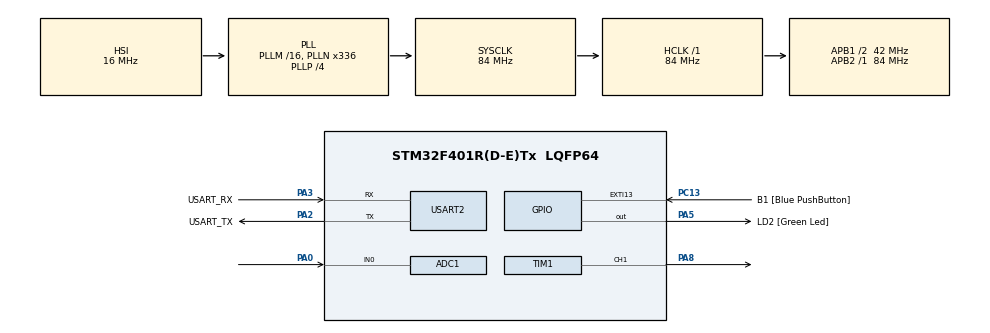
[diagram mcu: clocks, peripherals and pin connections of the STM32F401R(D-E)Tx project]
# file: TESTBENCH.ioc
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ADC1.Channel-0\#ChannelRegularConversion=ADC_CHANNEL_0
ADC1.NbrOfConversionFlag=1
ADC1.Rank-0\#ChannelRegularConversion=1
ADC1.SamplingTime-0\#ChannelRegularConversion=ADC_SAMPLETIME_3CYCLES
ADC1.master=1
Mcu.Family=STM32F4
Mcu.Name=STM32F401R(D-E)Tx
Mcu.Package=LQFP64
NVIC.PriorityGroup=NVIC_PRIORITYGROUP_4
PA0-WKUP.Signal=ADCx_IN0
PA13.GPIO_Label=TMS
PA13.Mode=Trace_Asynchronous_SW
PA13.Signal=SYS_JTMS-SWDIO
PA14.GPIO_Label=TCK
PA14.Mode=Trace_Asynchronous_SW
PA14.Signal=SYS_JTCK-SWCLK
PA2.GPIO_Label=USART_TX
PA2.GPIO_Mode=GPIO_MODE_AF_PP
PA2.GPIO_PuPd=GPIO_NOPULL
PA2.GPIO_Speed=GPIO_SPEED_FREQ_LOW
PA2.Mode=Asynchronous
PA2.Signal=USART2_TX
PA3.GPIO_Label=USART_RX
PA3.GPIO_Mode=GPIO_MODE_AF_PP
PA3.GPIO_PuPd=GPIO_NOPULL
PA3.GPIO_Speed=GPIO_SPEED_FREQ_LOW
PA3.Mode=Asynchronous
PA3.Signal=USART2_RX
PA5.GPIO_Label=LD2 [Green Led]
PA5.GPIO_Mode=GPIO_MODE_OUTPUT_PP
PA5.GPIO_PuPd=GPIO_NOPULL
PA5.GPIO_Speed=GPIO_SPEED_FREQ_LOW
PA5.Signal=GPIO_Output
PA8.Signal=S_TIM1_CH1
PB3.GPIO_Label=SWO
PB3.Mode=Trace_Asynchronous_SW
PB3.Signal=SYS_JTDO-SWO
PC13-ANTI_TAMP.GPIO_Label=B1 [Blue PushButton]
PC13-ANTI_TAMP.GPIO_ModeDefaultEXTI=GPIO_MODE_IT_FALLING
PC13-ANTI_TAMP.GPIO_PuPd=GPIO_NOPULL
PC13-ANTI_TAMP.Signal=GPXTI13
PC14-OSC32_IN.Mode=LSE-External-Oscillator
PC14-OSC32_IN.Signal=RCC_OSC32_IN
PC15-OSC32_OUT.Mode=LSE-External-Oscillator
PC15-OSC32_OUT.Signal=RCC_OSC32_OUT
PH0\ -\ OSC_IN.Mode=HSE-External-Clock-Source
PH0\ -\ OSC_IN.Signal=RCC_OSC_IN
PH1\ -\ OSC_OUT.Mode=HSE-External-Clock-Source
PH1\ -\ OSC_OUT.Signal=RCC_OSC_OUT
ProjectManager.HeapSize=0x200
ProjectManager.StackSize=0x400
ProjectManager.TargetToolchain=STM32CubeIDE
RCC.48MHZClocksFreq_Value=48000000
RCC.AHBFreq_Value=84000000
RCC.APB1CLKDivider=RCC_HCLK_DIV2
RCC.APB1Freq_Value=42000000
RCC.APB1TimFreq_Value=84000000
RCC.APB2Freq_Value=84000000
RCC.APB2TimFreq_Value=84000000
RCC.CortexFreq_Value=84000000
RCC.HCLKFreq_Value=84000000
RCC.HSE_VALUE=8000000
RCC.HSI_VALUE=16000000
RCC.PLLN=336
RCC.PLLP=RCC_PLLP_DIV4
RCC.PLLQ=7
RCC.SYSCLKFreq_VALUE=84000000
RCC.SYSCLKSource=RCC_SYSCLKSOURCE_PLLCLK
RCC.VCOOutputFreq_Value=336000000
SH.ADCx_IN0.0=ADC1_IN0,IN0
SH.S_TIM1_CH1.0=TIM1_CH1,PWM Generation1 CH1
TIM1.Channel-PWM\ Generation1\ CH1=TIM_CHANNEL_1
TIM1.Period=7999
USART2.VirtualMode=VM_ASYNC
VP_TIM1_VS_ClockSourceINT.Mode=Internal
board=NUCLEO-F401RE

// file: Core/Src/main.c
/* USER CODE BEGIN Header */
/**
  ******************************************************************************
  * @file           : main.c
  * @brief          : Main program body
  ******************************************************************************
  * @attention
  *
  * Copyright (c) 2025 STMicroelectronics.
  * All rights reserved.
  *
  * This software is licensed under terms that can be found in the LICENSE file
  * in the root directory of this software component.
  * If no LICENSE file comes with this software, it is provided AS-IS.
  *
  ******************************************************************************
  */
/* USER CODE END Header */
#include "main.h"

/* USER CODE BEGIN Includes */
#include <string.h>
#include <stdio.h>
#include <math.h>
/* USER CODE END Includes */

ADC_HandleTypeDef hadc1;

TIM_HandleTypeDef htim1;

UART_HandleTypeDef huart2;

void SystemClock_Config(void);
static void MX_GPIO_Init(void);
static void MX_USART2_UART_Init(void);
static void MX_ADC1_Init(void);
static void MX_TIM1_Init(void);

/* USER CODE BEGIN 0 */
#define SINE_SAMPLE 80
uint16_t sine_table[SINE_SAMPLE];

void generate_sine_table(uint16_t amplitude, uint16_t offset) {
	for (int i = 0; i< SINE_SAMPLE; i++) {
		float sine_angle = (2.0f * 3.1415f *i)/ SINE_SAMPLE;
		float value = sinf(sine_angle);
		sine_table[i]= (uint16_t)(amplitude * value + offset);
	}
}
/* USER CODE END 0 */

int main(void)
{

  /* MCU Configuration--------------------------------------------------------*/

  /* Reset of all peripherals, Initializes the Flash interface and the Systick. */
  HAL_Init();

  /* Configure the system clock */
  SystemClock_Config();

  /* Initialize all configured peripherals */
  MX_GPIO_Init();
  MX_USART2_UART_Init();
  MX_ADC1_Init();
  MX_TIM1_Init();
  /* USER CODE BEGIN 2 */
  char msg[10];
    HAL_TIM_PWM_Start(&htim1, TIM_CHANNEL_1);
    generate_sine_table(1500, 1500); // amplitude 500, offset 500 — range 0–1000

    int index = 0;
  /* USER CODE END 2 */

  /* Infinite loop */
  /* USER CODE BEGIN WHILE */
  while (1)
  {
	  __HAL_TIM_SET_COMPARE(&htim1, TIM_CHANNEL_1, sine_table[index]);
	    index = (index + 1) % SINE_SAMPLE;

	    HAL_Delay(1);

	    HAL_ADC_Start(&hadc1);  // Start ADC conversion

	      if (HAL_ADC_PollForConversion(&hadc1, 10) == HAL_OK)
	      {
	        uint16_t adc_val = HAL_ADC_GetValue(&hadc1);  // Read ADC value (0–4095)

	        int len = sprintf(msg, "%u\n", adc_val);  // Convert to string with newline

	        HAL_UART_Transmit(&huart2, (uint8_t*)msg, len, HAL_MAX_DELAY);  // Send over USB serial
	      }

	      HAL_Delay(5);  // ~200 Hz sampling rate
    /* USER CODE END WHILE */

  }
}

void SystemClock_Config(void)
{
  RCC_OscInitTypeDef RCC_OscInitStruct = {0};
  RCC_ClkInitTypeDef RCC_ClkInitStruct = {0};

  /** Configure the main internal regulator output voltage
  */
  __HAL_RCC_PWR_CLK_ENABLE();
  __HAL_PWR_VOLTAGESCALING_CONFIG(PWR_REGULATOR_VOLTAGE_SCALE2);

  /** Initializes the RCC Oscillators according to the specified parameters
  * in the RCC_OscInitTypeDef structure.
  */
  RCC_OscInitStruct.OscillatorType = RCC_OSCILLATORTYPE_HSI;
  RCC_OscInitStruct.HSIState = RCC_HSI_ON;
  RCC_OscInitStruct.HSICalibrationValue = RCC_HSICALIBRATION_DEFAULT;
  RCC_OscInitStruct.PLL.PLLState = RCC_PLL_ON;
  RCC_OscInitStruct.PLL.PLLSource = RCC_PLLSOURCE_HSI;
  RCC_OscInitStruct.PLL.PLLM = 16;
  RCC_OscInitStruct.PLL.PLLN = 336;
  RCC_OscInitStruct.PLL.PLLP = RCC_PLLP_DIV4;
  RCC_OscInitStruct.PLL.PLLQ = 7;
  if (HAL_RCC_OscConfig(&RCC_OscInitStruct) != HAL_OK)
  {
    Error_Handler();
  }

  /** Initializes the CPU, AHB and APB buses clocks
  */
  RCC_ClkInitStruct.ClockType = RCC_CLOCKTYPE_HCLK|RCC_CLOCKTYPE_SYSCLK
                              |RCC_CLOCKTYPE_PCLK1|RCC_CLOCKTYPE_PCLK2;
  RCC_ClkInitStruct.SYSCLKSource = RCC_SYSCLKSOURCE_PLLCLK;
  RCC_ClkInitStruct.AHBCLKDivider = RCC_SYSCLK_DIV1;
  RCC_ClkInitStruct.APB1CLKDivider = RCC_HCLK_DIV2;
  RCC_ClkInitStruct.APB2CLKDivider = RCC_HCLK_DIV1;

  if (HAL_RCC_ClockConfig(&RCC_ClkInitStruct, FLASH_LATENCY_2) != HAL_OK)
  {
    Error_Handler();
  }
}

static void MX_ADC1_Init(void)
{

  ADC_ChannelConfTypeDef sConfig = {0};

  /** Configure the global features of the ADC (Clock, Resolution, Data Alignment and number of conversion)
  */
  hadc1.Instance = ADC1;
  hadc1.Init.ClockPrescaler = ADC_CLOCK_SYNC_PCLK_DIV4;
  hadc1.Init.Resolution = ADC_RESOLUTION_12B;
  hadc1.Init.ScanConvMode = DISABLE;
  hadc1.Init.ContinuousConvMode = DISABLE;
  hadc1.Init.DiscontinuousConvMode = DISABLE;
  hadc1.Init.ExternalTrigConvEdge = ADC_EXTERNALTRIGCONVEDGE_NONE;
  hadc1.Init.ExternalTrigConv = ADC_SOFTWARE_START;
  hadc1.Init.DataAlign = ADC_DATAALIGN_RIGHT;
  hadc1.Init.NbrOfConversion = 1;
  hadc1.Init.DMAContinuousRequests = DISABLE;
  hadc1.Init.EOCSelection = ADC_EOC_SINGLE_CONV;
  if (HAL_ADC_Init(&hadc1) != HAL_OK)
  {
    Error_Handler();
  }

  /** Configure for the selected ADC regular channel its corresponding rank in the sequencer and its sample time.
  */
  sConfig.Channel = ADC_CHANNEL_0;
  sConfig.Rank = 1;
  sConfig.SamplingTime = ADC_SAMPLETIME_3CYCLES;
  if (HAL_ADC_ConfigChannel(&hadc1, &sConfig) != HAL_OK)
  {
    Error_Handler();
  }

}

static void MX_TIM1_Init(void)
{

  TIM_ClockConfigTypeDef sClockSourceConfig = {0};
  TIM_MasterConfigTypeDef sMasterConfig = {0};
  TIM_OC_InitTypeDef sConfigOC = {0};
  TIM_BreakDeadTimeConfigTypeDef sBreakDeadTimeConfig = {0};

  htim1.Instance = TIM1;
  htim1.Init.Prescaler = 0;
  htim1.Init.CounterMode = TIM_COUNTERMODE_UP;
  htim1.Init.Period = 7999;
  htim1.Init.ClockDivision = TIM_CLOCKDIVISION_DIV1;
  htim1.Init.RepetitionCounter = 0;
  htim1.Init.AutoReloadPreload = TIM_AUTORELOAD_PRELOAD_DISABLE;
  if (HAL_TIM_Base_Init(&htim1) != HAL_OK)
  {
    Error_Handler();
  }
  sClockSourceConfig.ClockSource = TIM_CLOCKSOURCE_INTERNAL;
  if (HAL_TIM_ConfigClockSource(&htim1, &sClockSourceConfig) != HAL_OK)
  {
    Error_Handler();
  }
  if (HAL_TIM_PWM_Init(&htim1) != HAL_OK)
  {
    Error_Handler();
  }
  sMasterConfig.MasterOutputTrigger = TIM_TRGO_RESET;
  sMasterConfig.MasterSlaveMode = TIM_MASTERSLAVEMODE_DISABLE;
  if (HAL_TIMEx_MasterConfigSynchronization(&htim1, &sMasterConfig) != HAL_OK)
  {
    Error_Handler();
  }
  sConfigOC.OCMode = TIM_OCMODE_PWM1;
  sConfigOC.Pulse = 0;
  sConfigOC.OCPolarity = TIM_OCPOLARITY_HIGH;
  sConfigOC.OCNPolarity = TIM_OCNPOLARITY_HIGH;
  sConfigOC.OCFastMode = TIM_OCFAST_DISABLE;
  sConfigOC.OCIdleState = TIM_OCIDLESTATE_RESET;
  sConfigOC.OCNIdleState = TIM_OCNIDLESTATE_RESET;
  if (HAL_TIM_PWM_ConfigChannel(&htim1, &sConfigOC, TIM_CHANNEL_1) != HAL_OK)
  {
    Error_Handler();
  }
  sBreakDeadTimeConfig.OffStateRunMode = TIM_OSSR_DISABLE;
  sBreakDeadTimeConfig.OffStateIDLEMode = TIM_OSSI_DISABLE;
  sBreakDeadTimeConfig.LockLevel = TIM_LOCKLEVEL_OFF;
  sBreakDeadTimeConfig.DeadTime = 0;
  sBreakDeadTimeConfig.BreakState = TIM_BREAK_DISABLE;
  sBreakDeadTimeConfig.BreakPolarity = TIM_BREAKPOLARITY_HIGH;
  sBreakDeadTimeConfig.AutomaticOutput = TIM_AUTOMATICOUTPUT_DISABLE;
  if (HAL_TIMEx_ConfigBreakDeadTime(&htim1, &sBreakDeadTimeConfig) != HAL_OK)
  {
    Error_Handler();
  }
  HAL_TIM_MspPostInit(&htim1);

}

static void MX_USART2_UART_Init(void)
{

  huart2.Instance = USART2;
  huart2.Init.BaudRate = 115200;
  huart2.Init.WordLength = UART_WORDLENGTH_8B;
  huart2.Init.StopBits = UART_STOPBITS_1;
  huart2.Init.Parity = UART_PARITY_NONE;
  huart2.Init.Mode = UART_MODE_TX_RX;
  huart2.Init.HwFlowCtl = UART_HWCONTROL_NONE;
  huart2.Init.OverSampling = UART_OVERSAMPLING_16;
  if (HAL_UART_Init(&huart2) != HAL_OK)
  {
    Error_Handler();
  }

}

static void MX_GPIO_Init(void)
{
  GPIO_InitTypeDef GPIO_InitStruct = {0};

  /* GPIO Ports Clock Enable */
  __HAL_RCC_GPIOC_CLK_ENABLE();
  __HAL_RCC_GPIOH_CLK_ENABLE();
  __HAL_RCC_GPIOA_CLK_ENABLE();
  __HAL_RCC_GPIOB_CLK_ENABLE();

  /*Configure GPIO pin Output Level */
  HAL_GPIO_WritePin(LD2_GPIO_Port, LD2_Pin, GPIO_PIN_RESET);

  /*Configure GPIO pin : B1_Pin */
  GPIO_InitStruct.Pin = B1_Pin;
  GPIO_InitStruct.Mode = GPIO_MODE_IT_FALLING;
  GPIO_InitStruct.Pull = GPIO_NOPULL;
  HAL_GPIO_Init(B1_GPIO_Port, &GPIO_InitStruct);

  /*Configure GPIO pin : LD2_Pin */
  GPIO_InitStruct.Pin = LD2_Pin;
  GPIO_InitStruct.Mode = GPIO_MODE_OUTPUT_PP;
  GPIO_InitStruct.Pull = GPIO_NOPULL;
  GPIO_InitStruct.Speed = GPIO_SPEED_FREQ_LOW;
  HAL_GPIO_Init(LD2_GPIO_Port, &GPIO_InitStruct);

}

void Error_Handler(void)
{
  __disable_irq();
  while (1)
  {
  }
}
